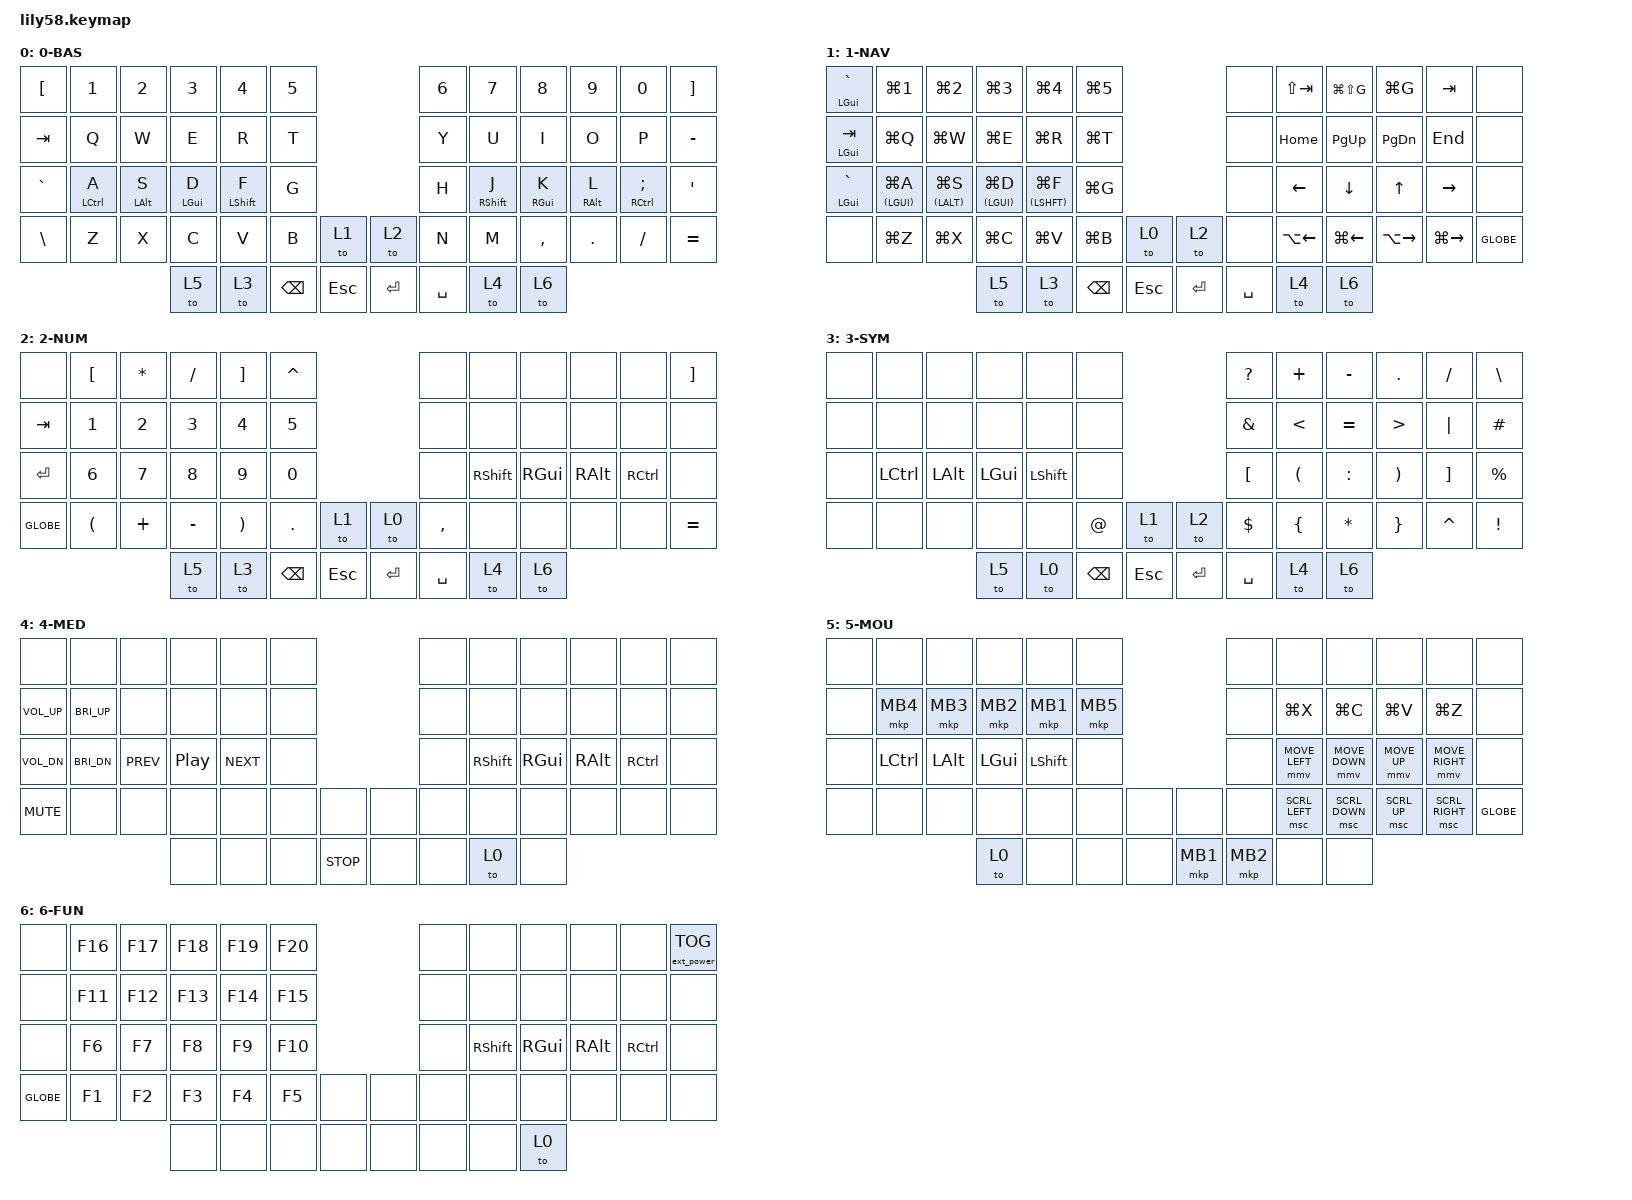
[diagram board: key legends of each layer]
/*
 * Lily58 keymap — adapted from Townk's zmk-config (github.com/Townk/zmk-config)
 * for stock ZMK v0.3.0 / mainline Lily58 (58 keys: 4 rows of 12/12/12/14 +
 * thumb row of 8). Layout matches the user's own keymap-drawer reference
 * diagrams exactly. Forced substitutions for stock hardware + mainline
 * firmware (Townk's repo depends on his own ZMK fork for a few features):
 *   - No Colemak layer (QWERTY only, by request).
 *   - &molock (his forked layer-lock behavior) replaced with &tog.
 *   - Mouse layer uses stock &mkp/&msc/&mmv instead of his forked pointer
 *     behaviors.
 *   - App/window switcher uses plain &mt hold-Cmd instead of the
 *     zmk-tri-state fork behavior.
 *   - No rotary encoder sensor-bindings (none wired on this board).
 *
 * Layers: 0 Main  1 Nav  2 Numbers  3 Symbols  4 Media
 *         5 Mouse  6 Functions  7 Layer7  8 Layer8
 *
 * Locking Nav/Numbers/Mouse/Functions: hold the layer-tap key (Backspace/
 * Space/Z/Slash), then while still holding it, press the outer row-4 key
 * on either side (position 36 or 49 — plain &kp BSLH/EQUAL on Base) —
 * that position's binding on the now-active target layer is &to <LAYER>,
 * so it locks the layer on directly. This is NOT a combo: an earlier
 * combo-based design (key-positions = <layer-tap-pos other-pos>) never
 * worked, because ZMK's combo engine can't see a keydown that happens
 * while another position's hold-tap (the &lt layer-tap key itself) is
 * still undecided — the undecided hold-tap's event-capture runs before
 * combo.c's listener in ZMK's fixed link order, on every other key,
 * regardless of what that other key is bound to. Binding the lock
 * directly on the target layer sidesteps the whole problem, since no
 * hold-tap/combo race is involved. Both outer row-4 keys together
 * (combo_unlock_to_base) return to Base from any locked layer — this one
 * IS a real combo, and it works because both its member keys are plain
 * &kp on every layer (no hold-tap involved on either side).
 */

#include <dt-bindings/zmk/mouse.h>
#include <behaviors.dtsi>
#include <dt-bindings/zmk/ext_power.h>
#include <dt-bindings/zmk/keys.h>
#include <dt-bindings/zmk/pointing.h>

#define MAIN 0
#define NAV  1
#define NUM  2
#define SYM  3
#define MED  4
#define MOU  5
#define FUN  6
#define L7   7
#define L8   8

/* ---- macOS shortcut aliases ---- */

#define MAC_CUT        LG(X)
#define MAC_COPY       LG(C)
#define MAC_PASTE      LG(V)
#define MAC_UNDO       LG(Z)
#define MAC_REDO       LG(LS(Z))
#define MAC_SPOTLIGHT  LG(SPACE)
#define MAC_LAUNCHPAD  LA(F4)
#define MAC_MSNCTRL    C_AC_DESKTOP_SHOW_ALL_WINDOWS
#define MAC_APPWIN     LG(LC(DOWN))
#define MAC_FINDNEXT   LG(G)
#define MAC_FINDPREV   LG(LS(G))
#define MAC_WORDNEXT   LA(RIGHT)
#define MAC_WORDPREV   LA(LEFT)
#define MAC_LINESTART  LG(LEFT)
#define MAC_LINEEND    LG(RIGHT)
#define MAC_NEXTDESK   LG(LC(RIGHT))
#define MAC_PREVDESK   LG(LC(LEFT))

/* ---- Hyper / Meh (row 4, 7th key each side) ---- */

#define LEFT_HYPER  LS(LA(LC(LGUI)))
#define RIGHT_HYPER RS(RA(RC(RGUI)))

/ {
    behaviors {
        /* Home row mods */

        hml: homerow_mods_left {
            compatible = "zmk,behavior-hold-tap";
            #binding-cells = <2>;
            tapping-term-ms = <200>;
            quick-tap-ms = <175>;
            require-prior-idle-ms = <100>;
            flavor = "balanced";
            hold-trigger-on-release;
            bindings = <&kp>, <&kp>;
        };

        hmr: homerow_mods_right {
            compatible = "zmk,behavior-hold-tap";
            #binding-cells = <2>;
            tapping-term-ms = <200>;
            quick-tap-ms = <175>;
            require-prior-idle-ms = <100>;
            flavor = "balanced";
            hold-trigger-on-release;
            bindings = <&kp>, <&kp>;
        };

        /* Shift-specific home row mods: no require-prior-idle-ms */

        hsl: homerow_shift_left {
            compatible = "zmk,behavior-hold-tap";
            #binding-cells = <2>;
            tapping-term-ms = <200>;
            quick-tap-ms = <175>;
            flavor = "balanced";
            hold-trigger-on-release;
            bindings = <&kp>, <&kp>;
        };

        hsr: homerow_shift_right {
            compatible = "zmk,behavior-hold-tap";
            #binding-cells = <2>;
            tapping-term-ms = <200>;
            quick-tap-ms = <175>;
            flavor = "balanced";
            hold-trigger-on-release;
            bindings = <&kp>, <&kp>;
        };

        /* Autoshift: tap = key, hold = Shift+key */

        as: auto_shift {
            compatible = "zmk,behavior-hold-tap";
            #binding-cells = <2>;
            tapping-term-ms = <200>;
            quick-tap-ms = <200>;
            flavor = "tap-preferred";
            bindings = <&kp>, <&kp>;
        };

        /* Backspace/Nav, Space/Numbers, Z/Mouse, and Slash/Functions all
         * use the built-in &lt (layer-tap) behavior instead of a custom
         * hold-tap — see the &lt tapping-term-ms override near the end of
         * this file. &lt is battle-tested (it's what powers Esc/Symbols
         * and Enter/Media, which already work correctly) and uses
         * bindings = <&mo>, <&kp>; with flavor "tap-preferred", the
         * standard ZMK pattern for tap-a-key/hold-a-layer keys. */
        /* Tap-dance: single tap = momentary layer, double tap = lock it on */

        td_l7: td_l7 {
            compatible = "zmk,behavior-tap-dance";
            #binding-cells = <0>;
            tapping-term-ms = <200>;
            bindings = <&mo 0>, <&tog 0>;
        };

        td_l8: td_l8 {
            compatible = "zmk,behavior-tap-dance";
            #binding-cells = <0>;
            tapping-term-ms = <200>;
            bindings = <&mo 0>, <&tog 0>;
        };
    };

    combos {
        compatible = "zmk,combos";

        /* Hold both index-finger home row mod keys (F and J) = Caps Word */

        combo_caps_word {
            timeout-ms = <75>;
            key-positions = <28 31>;
            layers = <0>;
            bindings = <&caps_word>;
        };

        /* Both outer row-4 keys together = back to Base, from any locked
         * layer. Both keys are plain &kp (not hold-tap) on every layer, so
         * this combo isn't racing an undecided hold-tap for event capture
         * — a genuinely simultaneous two-hand press reaches combo.c
         * cleanly. No `layers` restriction so it works from any layer. */

        combo_unlock_to_base {
            timeout-ms = <150>;
            key-positions = <36 49>;
            bindings = <&to 0>;
        };
    };

    macros {
        hyper_left_key: hyper_key {
            compatible = "zmk,behavior-macro";
            #binding-cells = <0>;
            bindings = <&kp LA(LC(LG(LS(LEFT_ARROW))))>;
            label = "HYPER_KEY";
        };

        hyper_right_key: hyper_right_key {
            compatible = "zmk,behavior-macro";
            #binding-cells = <0>;
            bindings = <&kp RS(RA(RC(RG(RIGHT_ARROW))))>;
            label = "HYPER_RIGHT_KEY";
        };
    };

    keymap {
        compatible = "zmk,keymap";

        // ============================================================
        // LAYER 0 — MAIN (QWERTY)
        // ============================================================
        // | {[⌘`| 1! | 2@ | 3# | 4$ | 5% |                | 6^ | 7& | 8* | 9( | 0) | }] |
        // | Tab  | Q  | W  | E  | R  | T  |                | Y  | U  | I  | O  | P  | _- |
        // | ~    |A/^ |S/⌥ |D/⌘ |F/⇧ | G  |                | H  |J/⇧ |K/⌘ |L/⌥ | ;/^| "' |
        // |\/Glob| Z/5| X  | C  |V/⇧V| B  | HYPER || HYPER | N  | M  | ,< | .> |//? |=/Gl|
        //              L8   L7  Bspc/1  Esc/3           Ret/4  Spc/2   L7   L8

        main_layer {
            display-name = "0-BAS";
            bindings = <
&kp LBKT   &kp N1        &kp N2       &kp N3       &kp N4        &kp N5                               &kp N6     &kp N7        &kp N8       &kp N9       &kp N0           &kp RBKT
&kp TAB    &kp Q         &kp W        &kp E        &kp R         &kp T                                &kp Y      &kp U         &kp I        &kp O        &kp P            &kp MINUS
&kp GRAVE  &hml LCTRL A  &hml LALT S  &hml LGUI D  &hsl LSHFT F  &kp G                                &kp H      &hsr RSHFT J  &hmr RGUI K  &hmr RALT L  &hmr RCTRL SEMI  &kp SQT
&kp BSLH   &kp Z         &kp X        &kp C        &kp V         &kp B          &to 1      &to 2      &kp N      &kp M         &kp COMMA    &kp DOT      &kp FSLH         &kp EQUAL
                                      &to 5        &to 3         &kp BACKSPACE  &kp ESC    &kp ENTER  &kp SPACE  &to 4         &to 6
            >;
        };

        // ============================================================
        // LAYER 1 — NAV
        // ============================================================
        // hold Backspace key (left thumb) for this layer

        nav_layer {
            display-name = "1-NAV";
            bindings = <
&mt LGUI GRAVE  &kp LG(N1)        &kp LG(N2)        &kp LG(N3)        &kp LG(N4)         &kp LG(N5)                              &none      &kp LS(TAB)   &kp LG(LS(G))  &kp LG(G)      &kp TAB        &none
&mt LGUI TAB    &kp LG(Q)         &kp LG(W)         &kp LG(E)         &kp LG(R)          &kp LG(T)                               &none      &kp HOME      &kp PG_UP      &kp PG_DN      &kp END        &none
&mt LGUI GRAVE  &mt (LGUI) LG(A)  &mt (LALT) LG(S)  &mt (LGUI) LG(D)  &mt (LSHFT) LG(F)  &kp LG(G)                               &none      &kp LEFT      &kp DOWN       &kp UP         &kp RIGHT      &none
&none           &kp LG(Z)         &kp LG(X)         &kp LG(C)         &kp LG(V)          &kp LG(B)      &to 0         &to 2      &none      &kp LA(LEFT)  &kp LG(LEFT)   &kp LA(RIGHT)  &kp LG(RIGHT)  &kp GLOBE
                                                    &to 5             &to 3              &kp BACKSPACE  &kp ESCAPE    &kp ENTER  &kp SPACE  &to 4         &to 6
            >;
        };

        // ============================================================
        // LAYER 2 — NUMBERS
        // ============================================================
        // hold Space key (right thumb) for this layer

        num_layer {
            display-name = "2-NUM";
            bindings = <
&none      &kp LBKT  &kp STAR  &kp FSLH   &kp RBKT  &kp CARET                             &none      &none      &none     &none     &none      &kp RBKT
&kp TAB    &kp N1    &kp N2    &kp N3     &kp N4    &kp N5                                &none      &none      &none     &none     &none      &none
&kp ENTER  &kp N6    &kp N7    &kp N8     &kp N9    &kp N0                                &none      &kp RSHFT  &kp RGUI  &kp RALT  &kp RCTRL  &none
&kp GLOBE  &kp LPAR  &kp PLUS  &kp MINUS  &kp RPAR  &kp DOT        &to 1         &to 0    &kp COMMA  &none      &none     &none     &none      &kp EQUAL
                               &to 5      &to 3     &kp BACKSPACE  &kp ESCAPE    &kp RET  &kp SPACE  &to 4      &to 6
            >;
        };

        // ============================================================
        // LAYER 3 — SYMBOLS
        // ============================================================
        // hold Esc key (left thumb) for this layer

        sym_layer {
            display-name = "3-SYM";
            bindings = <
&none  &none      &none     &none     &none      &none                                   &kp QMARK  &kp PLUS  &kp MINUS  &kp DOT   &kp FSLH   &kp BSLH
&none  &none      &none     &none     &none      &none                                   &kp AMPS   &kp LT    &kp EQUAL  &kp GT    &kp PIPE   &kp HASH
&none  &kp LCTRL  &kp LALT  &kp LGUI  &kp LSHFT  &none                                   &kp LBKT   &kp LPAR  &kp COLON  &kp RPAR  &kp RBKT   &kp PRCNT
&none  &none      &none     &none     &none      &kp AT         &to 1         &to 2      &kp DLLR   &kp LBRC  &kp STAR   &kp RBRC  &kp CARET  &kp EXCL
                            &to 5     &to 0      &kp BACKSPACE  &kp ESCAPE    &kp ENTER  &kp SPACE  &to 4     &to 6
            >;
        };

        // ============================================================
        // LAYER 4 — MEDIA
        // ============================================================
        // hold Enter key (right thumb) for this layer

        med_layer {
            display-name = "4-MED";
            bindings = <
&none         &none         &none       &none     &none       &none                       &none  &none      &none     &none     &none      &none
&kp C_VOL_UP  &kp C_BRI_UP  &none       &none     &none       &none                       &none  &none      &none     &none     &none      &none
&kp C_VOL_DN  &kp C_BRI_DN  &kp C_PREV  &kp C_PP  &kp C_NEXT  &none                       &none  &kp RSHFT  &kp RGUI  &kp RALT  &kp RCTRL  &none
&kp C_MUTE    &none         &none       &none     &none       &none  &none         &none  &none  &none      &none     &none     &none      &none
                                        &none     &none       &none  &kp C_STOP    &none  &none  &to 0      &none
            >;
        };

        // ============================================================
        // LAYER 5 — MOUSE
        // ============================================================
        // hold Z key (left, next to A) for this layer

        mou_layer {
            display-name = "5-MOU";
            bindings = <
&none  &none      &none     &none     &none      &none                        &none     &none           &none           &none         &none            &none
&none  &mkp MB4   &mkp MB3  &mkp MB2  &mkp MB1   &mkp MB5                     &none     &kp LG(X)       &kp LG(C)       &kp LG(V)     &kp LG(Z)        &none
&none  &kp LCTRL  &kp LALT  &kp LGUI  &kp LSHFT  &none                        &none     &mmv MOVE_LEFT  &mmv MOVE_DOWN  &mmv MOVE_UP  &mmv MOVE_RIGHT  &none
&none  &none      &none     &none     &none      &none     &none    &none     &none     &msc SCRL_LEFT  &msc SCRL_DOWN  &msc SCRL_UP  &msc SCRL_RIGHT  &kp GLOBE
                            &to 0     &none      &none     &none    &mkp MB1  &mkp MB2  &none           &none
            >;
        };

        // ============================================================
        // LAYER 6 — FUNCTIONS
        // ============================================================
        // hold / key (right, next to .) for this layer

        fun_layer {
            display-name = "6-FUN";
            bindings = <
&none      &kp F16  &kp F17  &kp F18  &kp F19  &kp F20                  &none  &none      &none     &none     &none      &ext_power EP_TOG
&none      &kp F11  &kp F12  &kp F13  &kp F14  &kp F15                  &none  &none      &none     &none     &none      &none
&none      &kp F6   &kp F7   &kp F8   &kp F9   &kp F10                  &none  &kp RSHFT  &kp RGUI  &kp RALT  &kp RCTRL  &none
&kp GLOBE  &kp F1   &kp F2   &kp F3   &kp F4   &kp F5   &none    &none  &none  &none      &none     &none     &none      &none
                             &none    &none    &none    &none    &none  &none  &none      &to 0
            >;
        };

        // ============================================================
        // LAYER 7 — LAYER7 (mirrored both sides — macOS window/app shortcuts)
        // ============================================================
        // tap outer-second thumb key for momentary, double-tap for lock
        // ============================================================
        // LAYER 8 — LAYER8 (system: bootloader/reset left, Bluetooth right)
        // ============================================================
        // tap outermost thumb key for momentary, double-tap for lock
    };
};

/* Caps-word: don't break the streak on _, -, Backspace */

&caps_word { continue-list = <UNDERSCORE MINUS BACKSPACE>; };

/* Raise &lt's default hold timing to match the other layer-tap keys
 * (Esc/Symbols, Enter/Media) so normal typing doesn't misfire the layer. */

&lt { tapping-term-ms = <280>; };
